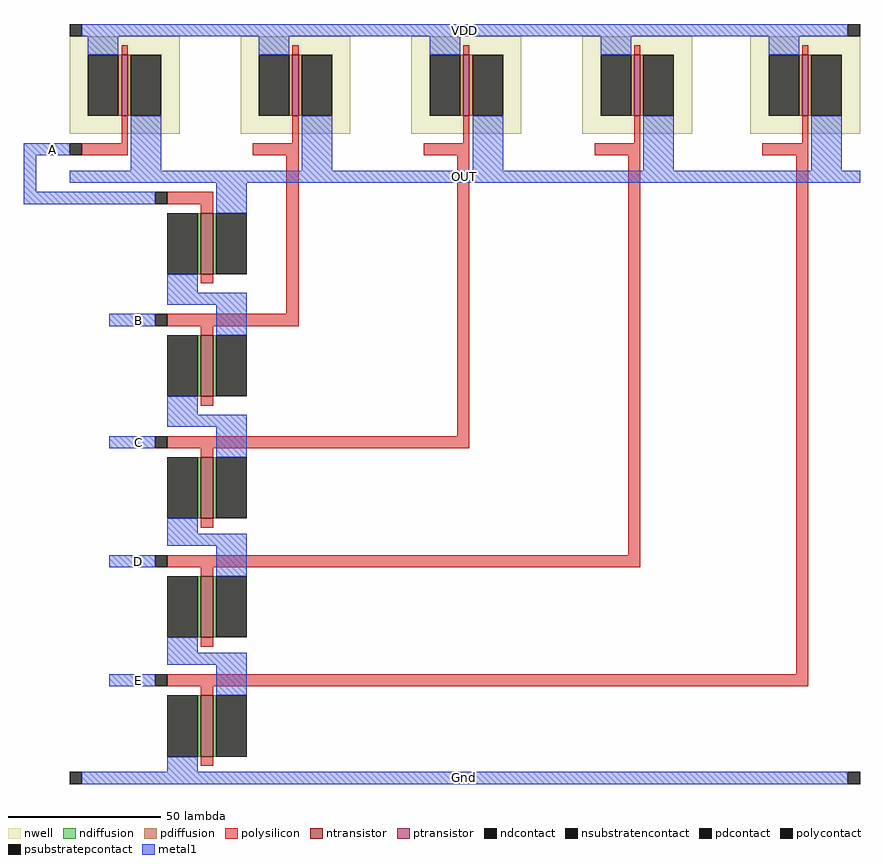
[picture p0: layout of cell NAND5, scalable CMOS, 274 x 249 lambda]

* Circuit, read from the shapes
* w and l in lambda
.subckt NAND5 A B C D E Gnd OUT VDD
M1 n1 E Gnd Gnd nfet w=20 l=4
M2 n2 D n1 Gnd nfet w=20 l=4
M3 n3 C n2 Gnd nfet w=20 l=4
M4 n4 B n3 Gnd nfet w=20 l=4
M5 OUT A n4 Gnd nfet w=20 l=4
M6 OUT A VDD n5 pfet w=20 l=2
M7 OUT B VDD n6 pfet w=20 l=2
M8 OUT C VDD n7 pfet w=20 l=2
M9 OUT D VDD n8 pfet w=20 l=2
M10 OUT E VDD n9 pfet w=20 l=2
.ends

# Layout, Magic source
magic
tech scmos
<< nwell >>
rect 278 174 314 206
rect 334 174 370 206
rect 390 174 426 206
rect 446 174 482 206
rect 501 174 537 206
<< ntransistor >>
rect 321 128 325 148
rect 321 88 325 108
rect 321 48 325 68
rect 321 9 325 29
rect 321 -30 325 -10
<< ptransistor >>
rect 295 180 297 200
rect 351 180 353 200
rect 407 180 409 200
rect 463 180 465 200
rect 518 180 520 200
<< ndiffusion >>
rect 320 128 321 148
rect 325 128 326 148
rect 320 88 321 108
rect 325 88 326 108
rect 320 48 321 68
rect 325 48 326 68
rect 320 9 321 29
rect 325 9 326 29
rect 320 -30 321 -10
rect 325 -30 326 -10
<< pdiffusion >>
rect 294 180 295 200
rect 297 180 298 200
rect 350 180 351 200
rect 353 180 354 200
rect 406 180 407 200
rect 409 180 410 200
rect 462 180 463 200
rect 465 180 466 200
rect 517 180 518 200
rect 520 180 521 200
<< ndcontact >>
rect 310 128 320 148
rect 326 128 336 148
rect 310 88 320 108
rect 326 88 336 108
rect 310 48 320 68
rect 326 48 336 68
rect 310 9 320 29
rect 326 9 336 29
rect 310 -30 320 -10
rect 326 -30 336 -10
<< pdcontact >>
rect 284 180 294 200
rect 298 180 308 200
rect 340 180 350 200
rect 354 180 364 200
rect 396 180 406 200
rect 410 180 420 200
rect 452 180 462 200
rect 466 180 476 200
rect 507 180 517 200
rect 521 180 531 200
<< psubstratepcontact >>
rect 278 -39 282 -35
rect 533 -39 537 -35
<< nsubstratencontact >>
rect 278 206 282 210
rect 533 206 537 210
<< polysilicon >>
rect 295 200 297 203
rect 351 200 353 203
rect 407 200 409 203
rect 463 200 465 203
rect 518 200 520 203
rect 295 171 297 180
rect 351 171 353 180
rect 407 171 409 180
rect 463 171 465 180
rect 518 171 520 180
rect 282 167 297 171
rect 338 167 353 171
rect 394 167 409 171
rect 450 167 465 171
rect 505 167 520 171
rect 310 151 325 155
rect 321 148 325 151
rect 321 125 325 128
rect 349 115 353 167
rect 310 111 353 115
rect 321 108 325 111
rect 321 85 325 88
rect 405 75 409 167
rect 310 71 409 75
rect 321 68 325 71
rect 321 45 325 48
rect 461 36 465 167
rect 310 32 465 36
rect 321 29 325 32
rect 321 6 325 9
rect 516 -3 520 167
rect 310 -7 520 -3
rect 321 -10 325 -7
rect 321 -33 325 -30
<< polycontact >>
rect 278 167 282 171
rect 306 151 310 155
rect 306 111 310 115
rect 306 71 310 75
rect 306 32 310 36
rect 306 -7 310 -3
<< metal1 >>
rect 282 206 533 210
rect 284 200 294 206
rect 340 200 350 206
rect 396 200 406 206
rect 452 200 462 206
rect 507 200 517 206
rect 263 167 278 171
rect 263 155 267 167
rect 298 162 308 180
rect 354 162 364 180
rect 410 162 420 180
rect 466 162 476 180
rect 521 162 531 180
rect 278 158 537 162
rect 263 151 306 155
rect 326 148 336 158
rect 310 122 320 128
rect 310 118 336 122
rect 291 111 306 115
rect 326 108 336 118
rect 310 82 320 88
rect 310 78 336 82
rect 291 71 306 75
rect 326 68 336 78
rect 310 43 320 48
rect 310 39 336 43
rect 291 32 306 36
rect 326 29 336 39
rect 310 4 320 9
rect 310 0 336 4
rect 291 -7 306 -3
rect 326 -10 336 0
rect 310 -35 320 -30
rect 282 -39 533 -35
<< labels >>
rlabel metal1 263 167 282 171 1 A
rlabel metal1 291 111 310 115 1 B
rlabel metal1 291 71 310 75 1 C
rlabel metal1 291 32 310 36 1 D
rlabel metal1 278 -39 537 -35 1 Gnd
rlabel metal1 278 158 537 162 1 OUT
rlabel metal1 278 206 537 210 5 VDD
rlabel metal1 291 -7 310 -3 1 E
<< end >>
